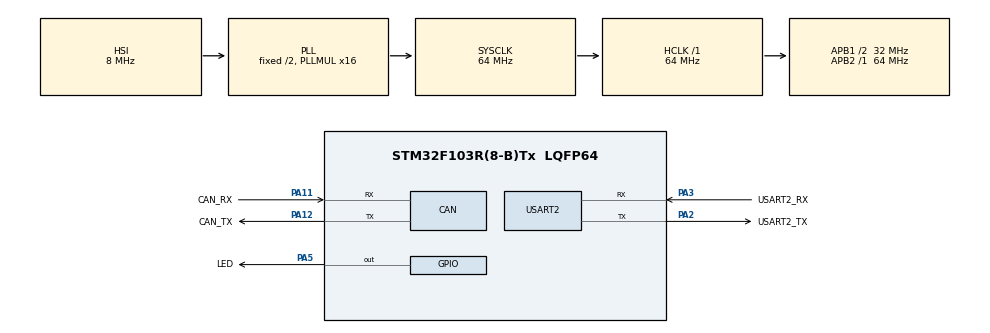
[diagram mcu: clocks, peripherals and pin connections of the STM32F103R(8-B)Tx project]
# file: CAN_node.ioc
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CAN.CalculateTimeBit=1500
CAN.CalculateTimeQuantum=500.0
Mcu.Family=STM32F1
Mcu.Name=STM32F103R(8-B)Tx
Mcu.Package=LQFP64
NVIC.PriorityGroup=NVIC_PRIORITYGROUP_4
NVIC.USART2_IRQn=true\:0\:0\:false\:false\:true
PA11.GPIO_Label=CAN_RX
PA11.Mode=Master
PA11.Signal=CAN_RX
PA12.GPIO_Label=CAN_TX
PA12.Mode=Master
PA12.Signal=CAN_TX
PA2.GPIO_Label=USART2_TX
PA2.GPIO_Mode=GPIO_MODE_AF_PP
PA2.Mode=Asynchronous
PA2.Signal=USART2_TX
PA3.GPIO_Label=USART2_RX
PA3.Mode=Asynchronous
PA3.Signal=USART2_RX
PA5.GPIO_Label=LED
PA5.Signal=GPIO_Output
ProjectManager.HeapSize=0x200
ProjectManager.StackSize=0x400
ProjectManager.TargetToolchain=TrueSTUDIO
RCC.AHBCLKDivider=RCC_SYSCLK_DIV1
RCC.AHBFreq_Value=64000000
RCC.APB1CLKDivider=RCC_HCLK_DIV2
RCC.APB1Freq_Value=32000000
RCC.APB1TimFreq_Value=64000000
RCC.APB2CLKDivider=RCC_HCLK_DIV1
RCC.APB2Freq_Value=64000000
RCC.APB2TimFreq_Value=64000000
RCC.ClockTypeHCLK=RCC_CLOCKTYPE_HCLK
RCC.ClockTypePCLK1=RCC_CLOCKTYPE_PCLK1
RCC.ClockTypePCLK2=RCC_CLOCKTYPE_PCLK2
RCC.EnableHSE=false
RCC.EnableHSERTCDevisor=false
RCC.EnableLSE=false
RCC.EnableLSERTC=false
RCC.EnableMCOMultDivisor=false
RCC.HCLKFreq_Value=64000000
RCC.HSEState=RCC_HSE_OFF
RCC.HSIState=RCC_HSI_ON
RCC.IWDGEnable=false
RCC.LSIState=RCC_LSI_OFF
RCC.MCOEnable=false
RCC.OscillatorTypeHSI=RCC_OSCILLATORTYPE_HSI
RCC.PLLMUL=RCC_PLL_MUL16
RCC.PLLSource=RCC_PLLSOURCE_HSI_DIV2
RCC.PLLSourceVirtual=RCC_PLLSOURCE_HSI_DIV2
RCC.PLLState=RCC_PLL_ON
RCC.RTCEnable=false
RCC.SYSCLKFreq_VALUE=64000000
RCC.SYSCLKSource=RCC_SYSCLKSOURCE_PLLCLK
RCC.TimSys_Div=SYSTICK_CLKSOURCE_HCLK
RCC.USBFreq_Value=64000000
USART2.HwFlowCtl-Asynchronous=UART_HWCONTROL_NONE
USART2.VirtualMode=VM_ASYNC
VP_SYS_VS_ND.Mode=No_Debug
board=CAN_node

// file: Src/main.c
/**
  ******************************************************************************
  * File Name          : main.c
  * Description        : Main program body
  ******************************************************************************
  *
  * COPYRIGHT(c) 2017 STMicroelectronics
  *
  * Redistribution and use in source and binary forms, with or without modification,
  * are permitted provided that the following conditions are met:
  *   1. Redistributions of source code must retain the above copyright notice,
  *      this list of conditions and the following disclaimer.
  *   2. Redistributions in binary form must reproduce the above copyright notice,
  *      this list of conditions and the following disclaimer in the documentation
  *      and/or other materials provided with the distribution.
  *   3. Neither the name of STMicroelectronics nor the names of its contributors
  *      may be used to endorse or promote products derived from this software
  *      without specific prior written permission.
  *
  * THIS SOFTWARE IS PROVIDED BY THE COPYRIGHT HOLDERS AND CONTRIBUTORS "AS IS"
  * AND ANY EXPRESS OR IMPLIED WARRANTIES, INCLUDING, BUT NOT LIMITED TO, THE
  * IMPLIED WARRANTIES OF MERCHANTABILITY AND FITNESS FOR A PARTICULAR PURPOSE ARE
  * DISCLAIMED. IN NO EVENT SHALL THE COPYRIGHT HOLDER OR CONTRIBUTORS BE LIABLE
  * FOR ANY DIRECT, INDIRECT, INCIDENTAL, SPECIAL, EXEMPLARY, OR CONSEQUENTIAL
  * DAMAGES (INCLUDING, BUT NOT LIMITED TO, PROCUREMENT OF SUBSTITUTE GOODS OR
  * SERVICES; LOSS OF USE, DATA, OR PROFITS; OR BUSINESS INTERRUPTION) HOWEVER
  * CAUSED AND ON ANY THEORY OF LIABILITY, WHETHER IN CONTRACT, STRICT LIABILITY,
  * OR TORT (INCLUDING NEGLIGENCE OR OTHERWISE) ARISING IN ANY WAY OUT OF THE USE
  * OF THIS SOFTWARE, EVEN IF ADVISED OF THE POSSIBILITY OF SUCH DAMAGE.
  *
  ******************************************************************************
  */
#include "main.h"
#include "stm32f1xx_hal.h"

CAN_HandleTypeDef hcan;
UART_HandleTypeDef huart2;

/* USER CODE BEGIN PV */
/* Private variables ---------------------------------------------------------*/
uint8_t uartTxMsg[MSG_PKT_SIZE];
uint8_t uartRxMsg[MSG_PKT_SIZE];
/* USER CODE END PV */

void SystemClock_Config(void);
void Error_Handler(void);
static void MX_GPIO_Init(void);
static void MX_CAN_Init(void);
static void MX_USART2_UART_Init(void);

/* USER CODE BEGIN PFP */
/* Private function prototypes -----------------------------------------------*/
void UART_TO_CAN_Transfer();
void CAN_TO_UART_Transfer();

void HAL_UART_RxCpltCallback(UART_HandleTypeDef * huart)
{
//	HAL_GPIO_WritePin( LED_GPIO_Port, LED_Pin, GPIO_PIN_SET);
	if(uartRxMsg[0] == ARINC_MSG){
		UART_TO_CAN_Transfer();
		if(HAL_CAN_Transmit(&hcan, 10) != HAL_OK)
		{
			HAL_GPIO_WritePin( LED_GPIO_Port, LED_Pin, GPIO_PIN_SET);
		    /* Reception Error */
		    Error_Handler();
		}
	}else if(uartRxMsg[0] == CTRL_MSG){
		HAL_UART_Transmit(&huart2, (uint8_t*) &uartTxMsg, 15, 100);
		HAL_UART_Transmit(&huart2, (uint8_t*) &uartTxMsg, 15, 100);
	}

	HAL_UART_Receive_IT(&huart2, uartRxMsg, MSG_PKT_SIZE);
}

void HAL_CAN_RxCpltCallback(CAN_HandleTypeDef *CanHandle)
{
	HAL_GPIO_WritePin( LED_GPIO_Port, LED_Pin, GPIO_PIN_SET);
	CAN_TO_UART_Transfer();
	HAL_UART_Transmit(&huart2, (uint8_t*) &uartTxMsg, 15, 100);

  /* Receive */
  if (HAL_CAN_Receive_IT(CanHandle, 10) != HAL_OK)
  {
    /* Reception Error */
    Error_Handler();
  }
}

/* USER CODE END PFP */

/* USER CODE BEGIN 0 */

void UART_TO_CAN_Transfer()
{
	hcan.pTxMsg->DLC = uartRxMsg[1];
	for(int i = 0; i < hcan.pTxMsg->DLC; i++)
	{
		hcan.pTxMsg->Data[i+2] = uartRxMsg[i+2];
	}
	unsigned int id[4];
	id[0] = (unsigned int) ((uartRxMsg[11] << 24) & 0x1F000000);
	id[1] = (unsigned int) ((uartRxMsg[12] << 16) & 0xFF0000);
	id[2] = (unsigned int) ((uartRxMsg[13] << 8) & 0xFF00);
	id[3] = (unsigned int) (uartRxMsg[14] & 0xFF);
	hcan.pTxMsg->ExtId = id[0]|id[1]|id[2]|id[3];
}

void CAN_TO_UART_Transfer()
{
	uartTxMsg[0] = hcan.pRxMsg->DLC;
	for(int i = 0; i < hcan.pRxMsg->DLC; i++)
	{
		uartTxMsg[i+1] = hcan.pRxMsg->Data[i+1];
	}
	uartTxMsg[9] = DATA_FRAME;
	uartTxMsg[10] = (unsigned char) ((hcan.pRxMsg->ExtId >> 24) & 0xFF);
	uartTxMsg[11] = (unsigned char) ((hcan.pRxMsg->ExtId >> 16) & 0xFF);
	uartTxMsg[12] = (unsigned char) ((hcan.pRxMsg->ExtId >> 8) & 0xFF);
	uartTxMsg[13] = (unsigned char) ((hcan.pRxMsg->ExtId) & 0xFF);
	uartTxMsg[14] = ARINC_MSG;
//	if(hcan.pRxMsg->ExtId == 0x82501C0){HAL_GPIO_WritePin( LED_GPIO_Port, LED_Pin, GPIO_PIN_SET);}
}
/* USER CODE END 0 */

int main(void)
{

  /* MCU Configuration----------------------------------------------------------*/

  /* Reset of all peripherals, Initializes the Flash interface and the Systick. */
  HAL_Init();

  /* Configure the system clock */
  SystemClock_Config();

  /* Initialize all configured peripherals */
  MX_GPIO_Init();
  MX_CAN_Init();
  MX_USART2_UART_Init();

  /* USER CODE BEGIN 2 */

  //start listening for uart messages
  HAL_UART_Receive_IT(&huart2, uartRxMsg, 15);
  HAL_CAN_Receive_IT(&hcan, CAN_FIFO0);

  //creating an UART message

  // byte count
  uartTxMsg[0] = 0x08;
  // CAN_MSG.data[8]
  uartTxMsg[1] = 0x13;
  uartTxMsg[2] = 0x43;
  uartTxMsg[3] = 0x43;
  uartTxMsg[4] = 0x43;
  uartTxMsg[5] = 0x43;
  uartTxMsg[6] = 0x43;
  uartTxMsg[7] = 0x43;
  uartTxMsg[8] = 0x43;
  // frame type
  uartTxMsg[9] = DATA_FRAME;
  // identifier
  uartTxMsg[10] = 0x08;
  uartTxMsg[11] = 0x26;
  uartTxMsg[12] = 0x01;
  uartTxMsg[13] = 0xC0;
  // opcode
  uartTxMsg[14] = ARINC_MSG;

//  if (HAL_CAN_Receive_IT(&hcan, CAN_FIFO0) != HAL_OK)
//  {
//    /* Reception Error */
//    Error_Handler();
//  }
  /* USER CODE END 2 */

  /* Infinite loop */
  /* USER CODE BEGIN WHILE */
  while (1)
  {
  /* Set the data to be transmitted */
//  HAL_UART_Transmit(&huart2, (uint8_t*) &uartTxMsg, 17, 100);
//  HAL_GPIO_WritePin( LED_GPIO_Port, LED_Pin, GPIO_PIN_SET);
//  HAL_Delay(1000);
//  HAL_GPIO_WritePin( LED_GPIO_Port, LED_Pin, GPIO_PIN_RESET);
  /*##-3- Start the Transmission process ###############################*/
//  if (HAL_CAN_Transmit(&hcan, 10) != HAL_OK)
//  {
//  /* Transmission Error */
//	  Error_Handler();
//  }
//  HAL_Delay(10);

  /* USER CODE END WHILE */

  }

}

/** System Clock Configuration
*/
void SystemClock_Config(void)
{

  RCC_OscInitTypeDef RCC_OscInitStruct;
  RCC_ClkInitTypeDef RCC_ClkInitStruct;

    /**Initializes the CPU, AHB and APB busses clocks
    */
  RCC_OscInitStruct.OscillatorType = RCC_OSCILLATORTYPE_HSI;
  RCC_OscInitStruct.HSIState = RCC_HSI_ON;
  RCC_OscInitStruct.HSICalibrationValue = 16;
  RCC_OscInitStruct.PLL.PLLState = RCC_PLL_ON;
  RCC_OscInitStruct.PLL.PLLSource = RCC_PLLSOURCE_HSI_DIV2;
  RCC_OscInitStruct.PLL.PLLMUL = RCC_PLL_MUL16;
  if (HAL_RCC_OscConfig(&RCC_OscInitStruct) != HAL_OK)
  {
    Error_Handler();
  }

    /**Initializes the CPU, AHB and APB busses clocks
    */
  RCC_ClkInitStruct.ClockType = RCC_CLOCKTYPE_HCLK|RCC_CLOCKTYPE_SYSCLK
                              |RCC_CLOCKTYPE_PCLK1|RCC_CLOCKTYPE_PCLK2;
  RCC_ClkInitStruct.SYSCLKSource = RCC_SYSCLKSOURCE_PLLCLK;
  RCC_ClkInitStruct.AHBCLKDivider = RCC_SYSCLK_DIV1;
  RCC_ClkInitStruct.APB1CLKDivider = RCC_HCLK_DIV2;
  RCC_ClkInitStruct.APB2CLKDivider = RCC_HCLK_DIV1;

  if (HAL_RCC_ClockConfig(&RCC_ClkInitStruct, FLASH_LATENCY_2) != HAL_OK)
  {
    Error_Handler();
  }

    /**Configure the Systick interrupt time
    */
  HAL_SYSTICK_Config(HAL_RCC_GetHCLKFreq()/1000);

    /**Configure the Systick
    */
  HAL_SYSTICK_CLKSourceConfig(SYSTICK_CLKSOURCE_HCLK);

  /* SysTick_IRQn interrupt configuration */
  HAL_NVIC_SetPriority(SysTick_IRQn, 0, 0);
}

/* CAN init function */
static void MX_CAN_Init(void)
{
  CAN_FilterConfTypeDef  		sFilterConfig;
  static CanTxMsgTypeDef        TxMessage;
  static CanRxMsgTypeDef        RxMessage;

  /*##-1- Configure the CAN peripheral #######################################*/
  hcan.pTxMsg = &TxMessage;
  hcan.pRxMsg = &RxMessage;

  hcan.Instance = CAN1;
  hcan.Init.Prescaler = 16;
  hcan.Init.Mode = CAN_MODE_LOOPBACK;
  hcan.Init.SJW = CAN_SJW_1TQ;
  hcan.Init.BS1 = CAN_BS1_1TQ;
  hcan.Init.BS2 = CAN_BS2_1TQ;
  hcan.Init.TTCM = DISABLE;
  hcan.Init.ABOM = DISABLE;
  hcan.Init.AWUM = DISABLE;
  hcan.Init.NART = DISABLE;
  hcan.Init.RFLM = DISABLE;
  hcan.Init.TXFP = DISABLE;
  if (HAL_CAN_Init(&hcan) != HAL_OK)
  {

    Error_Handler();
  }

  /*##-2- Configure the CAN Filter ###########################################*/
  sFilterConfig.FilterNumber = 0;
  sFilterConfig.FilterMode = CAN_FILTERMODE_IDMASK;
  sFilterConfig.FilterScale = CAN_FILTERSCALE_32BIT;
  sFilterConfig.FilterIdHigh = 0x0000;
  sFilterConfig.FilterIdLow = 0x0000;
  sFilterConfig.FilterMaskIdHigh = 0x0000;
  sFilterConfig.FilterMaskIdLow = 0x0000;
  sFilterConfig.FilterFIFOAssignment = 0;
  sFilterConfig.FilterActivation = ENABLE;
  sFilterConfig.BankNumber = 14;

  if (HAL_CAN_ConfigFilter(&hcan, &sFilterConfig) != HAL_OK)
  {
    /* Filter configuration Error */
    Error_Handler();
  }

  /*##-3- Configure Transmission process #####################################*/
  hcan.pTxMsg->StdId = 0x00;
  hcan.pTxMsg->ExtId = 0xE9E1AC3;
  hcan.pTxMsg->RTR = CAN_RTR_DATA;
  hcan.pTxMsg->IDE = CAN_ID_EXT;
  hcan.pTxMsg->DLC = 8;

}

/* USART2 init function */
static void MX_USART2_UART_Init(void)
{

  huart2.Instance = USART2;
  huart2.Init.BaudRate = 115200;
  huart2.Init.WordLength = UART_WORDLENGTH_8B;
  huart2.Init.StopBits = UART_STOPBITS_1;
  huart2.Init.Parity = UART_PARITY_NONE;
  huart2.Init.Mode = UART_MODE_TX_RX;
  huart2.Init.HwFlowCtl = UART_HWCONTROL_NONE;
  huart2.Init.OverSampling = UART_OVERSAMPLING_16;
  if (HAL_UART_Init(&huart2) != HAL_OK)
  {
    Error_Handler();
  }

}

/** Configure pins as
        * Analog
        * Input
        * Output
        * EVENT_OUT
        * EXTI
*/
static void MX_GPIO_Init(void)
{

  GPIO_InitTypeDef GPIO_InitStruct;

  /* GPIO Ports Clock Enable */
  __HAL_RCC_GPIOA_CLK_ENABLE();

  /*Configure GPIO pin Output Level */
  HAL_GPIO_WritePin(LED_GPIO_Port, LED_Pin, GPIO_PIN_RESET);

  /*Configure GPIO pin : LED_Pin */
  GPIO_InitStruct.Pin = LED_Pin;
  GPIO_InitStruct.Mode = GPIO_MODE_OUTPUT_PP;
  GPIO_InitStruct.Speed = GPIO_SPEED_FREQ_LOW;
  HAL_GPIO_Init(LED_GPIO_Port, &GPIO_InitStruct);

}

void Error_Handler(void)
{HAL_GPIO_WritePin( LED_GPIO_Port, LED_Pin, GPIO_PIN_SET);
  while(1)
  {
  }
}

/************************ (C) COPYRIGHT STMicroelectronics *****END OF FILE****/
